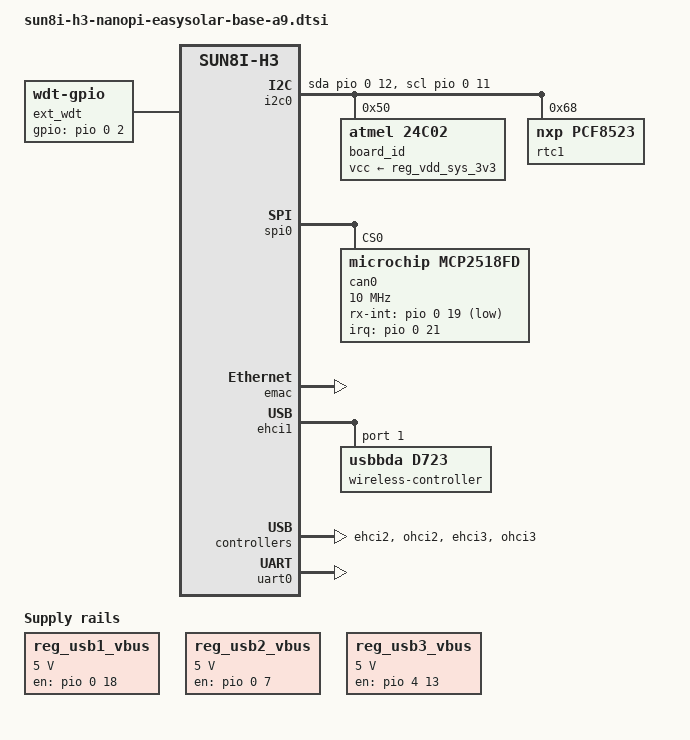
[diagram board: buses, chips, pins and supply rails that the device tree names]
// SPDX-License-Identifier: GPL-2.0 OR X11
/*
 * Copyright (C) 2019 Mans Rullgard <mans@mansr.com>
 */

#include "sun8i-h3-nanopi-neo-core.dtsi"

/ {
	aliases {
		nvmem0 = &board_id;
		serial0 = &uart0;
		serial1 = &uart1;
		serial2 = &uart2;
		serial3 = &uart3;
		ethernet0 = &emac;
		i2c0 = &i2c0;
		watchdog0 = &ext_wdt;
		watchdog1 = &wdt0;
	};

	chosen {
		stdout-path = "serial0:115200n8";
	};

	ext_wdt: watchdog {
		compatible = "linux,wdt-gpio";
		gpios = <&pio 0 2 GPIO_ACTIVE_HIGH>; /* PA2 */
		hw_algo = "toggle";
		hw_margin_ms = <30000>;
		always-running;
	};

	can_clk: can-clk {
		compatible = "fixed-clock";
		#clock-cells = <0>;
		clock-frequency = <20000000>;
	};

	reg_usb1_vbus: regulator-usb1-vbus {
		compatible = "regulator-fixed";
		regulator-name = "usb1-vbus";
		regulator-min-microvolt = <5000000>;
		regulator-max-microvolt = <5000000>;
		gpio = <&pio 0 18 GPIO_ACTIVE_HIGH>; /* PA18 */
		enable-active-high;
	};

	reg_usb2_vbus: regulator-usb2-vbus {
		compatible = "regulator-fixed";
		regulator-name = "usb2-vbus";
		regulator-min-microvolt = <5000000>;
		regulator-max-microvolt = <5000000>;
		gpio = <&pio 0 7 GPIO_ACTIVE_HIGH>; /* PA7 */
		enable-active-high;
	};

	reg_usb3_vbus: regulator-usb3-vbus {
		compatible = "regulator-fixed";
		regulator-name = "usb3-vbus";
		regulator-min-microvolt = <5000000>;
		regulator-max-microvolt = <5000000>;
		gpio = <&pio 4 13 GPIO_ACTIVE_HIGH>; /* PE13 */
		enable-active-high;
	};
};

&pio {
	i2c0_gpio_pins: i2c0-gpio-pins {
		pins = "PA11", "PA12";
		function = "i2c0";
	};
};

&i2c0 {
	pinctrl-names = "default", "gpio";
	pinctrl-0 = <&i2c0_pins>;
	pinctrl-1 = <&i2c0_gpio_pins>;
	scl-gpios = <&pio 0 11 (GPIO_ACTIVE_HIGH | GPIO_OPEN_DRAIN)>; /* PA11 */
	sda-gpios = <&pio 0 12 (GPIO_ACTIVE_HIGH | GPIO_OPEN_DRAIN)>; /* PA12 */
	status = "okay";

	board_id: eeprom@50 {
		compatible = "atmel,24c02";
		reg = <0x50>;
		pagesize = <16>;
		read-only;
		vcc-supply = <&reg_vdd_sys_3v3>;
	};

	rtc1: rtc@68 {
		compatible = "nxp,pcf8523";
		reg = <0x68>;
	};
};

&spi0 {
	status = "okay";

	assigned-clocks = <&ccu CLK_SPI0>;
	assigned-clock-rates = <600000000>;

	can0: can@0 {
		compatible = "microchip,mcp2518fd";
		reg = <0>;
		spi-max-frequency = <10000000>;
		clocks = <&can_clk>;
		interrupt-parent = <&pio>;
		interrupts = <0 21 IRQ_TYPE_LEVEL_LOW>; /* PA21 */
		microchip,rx-int-gpios = <&pio 0 19 GPIO_ACTIVE_LOW>; /* PA19 */
	};
};

&emac {
	status = "okay";
};

&ehci1 {
	status = "okay";

	#address-cells = <1>;
	#size-cells = <0>;

	wireless-controller@1 {
		compatible = "usbbda,d723";
		reg = <1>;
	};
};

&ehci2 {
	status = "okay";
};

&ohci2 {
	status = "okay";
};

&ehci3 {
	status = "okay";
};

&ohci3 {
	status = "okay";
};

&rtc {
	status = "disabled";
};

&usbphy {
	usb1_vbus-supply = <&reg_usb1_vbus>;
	usb2_vbus-supply = <&reg_usb2_vbus>;
	usb3_vbus-supply = <&reg_usb3_vbus>;
};

&uart0 {
	pinctrl-names = "default";
	pinctrl-0 = <&uart0_pa_pins>;
	status = "okay";
};

&uart1 {
	pinctrl-names = "default";
	pinctrl-0 = <&uart1_pins>;
};

&uart2 {
	pinctrl-names = "default";
	pinctrl-0 = <&uart2_pins>;
};

&uart3 {
	pinctrl-names = "default";
	pinctrl-0 = <&uart3_pins>;
};

&mixer0 {
	status = "disabled";
};

&tcon0 {
	status = "disabled";
};
